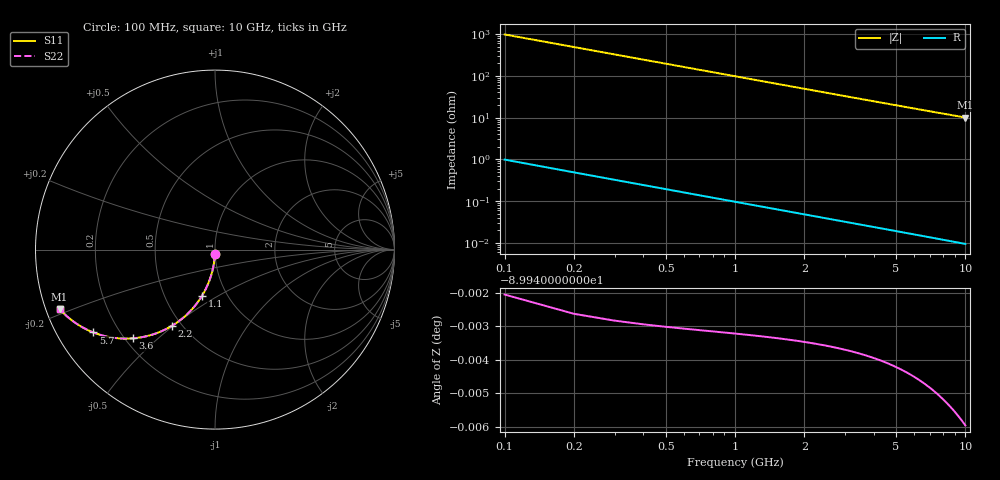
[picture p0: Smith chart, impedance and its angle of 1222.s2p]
# Hz S RI R 50.00
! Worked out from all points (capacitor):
!   100 points, 100 MHz to 10 GHz, reference 50 ohm
!   read as one part in shunt: C = 1.63 pF near 100 MHz
!   lowest |Z| = 10 ohm at 10 GHz (marker M1)
!   S11 on the Smith chart (normalised r, x): 100 MHz: 1.00, -0.05; 1.1 GHz: 0.76, -0.43; 2.2 GHz: 0.44, -0.49; 3.6 GHz: 0.23, -0.42; 5.7 GHz: 0.11, -0.30; 10 GHz: 0.04, -0.18
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1e8  -0.000663 -0.0255  0.9993 -0.0257  0.9993 -0.0257  -0.000663 -0.0255
2e8  -0.00265 -0.0509  0.9973 -0.0512  0.9973 -0.0512  -0.00265 -0.0509
3e8  -0.00592 -0.0761  0.994 -0.0766  0.994 -0.0766  -0.00592 -0.0761
4e8  -0.0105 -0.1009  0.9895 -0.1017  0.9895 -0.1017  -0.0105 -0.1009
5e8  -0.0162 -0.1254  0.9837 -0.1263  0.9837 -0.1263  -0.0162 -0.1254
6e8  -0.0232 -0.1494  0.9768 -0.1505  0.9768 -0.1505  -0.0232 -0.1494
7e8  -0.0312 -0.1729  0.9687 -0.1741  0.9687 -0.1741  -0.0312 -0.1729
9e8  -0.0505 -0.2177  0.9494 -0.2194  0.9494 -0.2194  -0.0505 -0.2177
1.1e9  -0.0736 -0.2596  0.9264 -0.2616  0.9264 -0.2616  -0.0736 -0.2596
1.4e9  -0.1138 -0.3159  0.8861 -0.3184  0.8861 -0.3184  -0.1138 -0.3159
1.8e9  -0.1749 -0.3778  0.825 -0.381  0.825 -0.381  -0.1749 -0.3778
2.2e9  -0.2403 -0.4248  0.7597 -0.4288  0.7597 -0.4288  -0.2403 -0.4248
2.8e9  -0.3383 -0.4701  0.6616 -0.4752  0.6616 -0.4752  -0.3383 -0.4701
3.4e9  -0.4294 -0.4914  0.5705 -0.4976  0.5705 -0.4976  -0.4294 -0.4914
3.6e9  -0.4575 -0.4944  0.5424 -0.501  0.5424 -0.501  -0.4575 -0.4944
4.3e9  -0.5457 -0.4934  0.4542 -0.5014  0.4542 -0.5014  -0.5457 -0.4934
5.1e9  -0.6279 -0.4782  0.3721 -0.4876  0.3721 -0.4876  -0.6279 -0.4782
5.7e9  -0.678 -0.4614  0.3219 -0.472  0.3219 -0.472  -0.678 -0.4614
6.7e9  -0.7439 -0.4297  0.2559 -0.4422  0.2559 -0.4422  -0.7439 -0.4297
7.5e9  -0.7844 -0.4037  0.2154 -0.4177  0.2154 -0.4177  -0.7844 -0.4037
8.4e9  -0.8202 -0.3755  0.1796 -0.3913  0.1796 -0.3913  -0.8202 -0.3755
1e10  -0.8661 -0.3304  0.1337 -0.3494  0.1337 -0.3494  -0.8661 -0.3304
